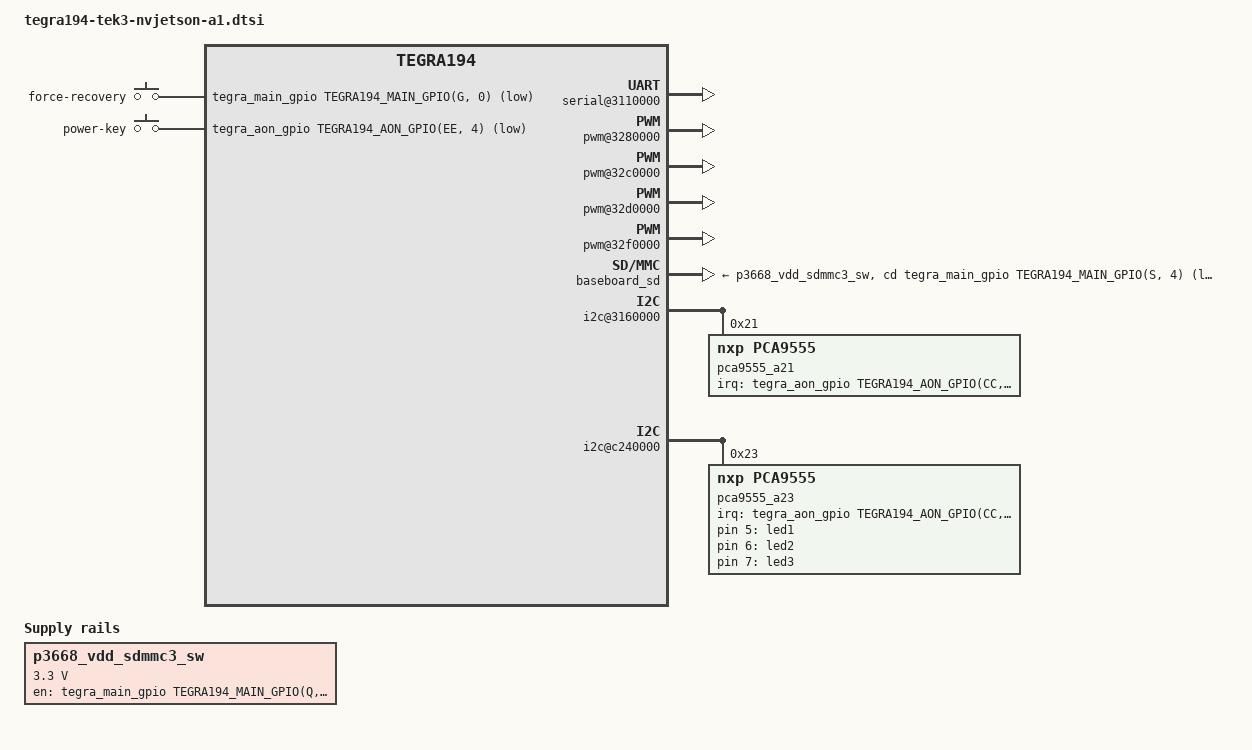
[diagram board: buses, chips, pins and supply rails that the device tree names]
/*
 * Copyright (c) 2019-2021, NVIDIA CORPORATION.  All rights reserved.
 *
 * This program is free software; you can redistribute it and/or modify
 * it under the terms of the GNU General Public License as published by
 * the Free Software Foundation; version 2 of the License.
 *
 * This program is distributed in the hope that it will be useful, but WITHOUT
 * ANY WARRANTY; without even the implied warranty of MERCHANTABILITY or
 * FITNESS FOR A PARTICULAR PURPOSE.  See the GNU General Public License for
 * more details.
 */
#include <dt-bindings/gpio/tegra194-gpio.h>
#include "dt-bindings/input/input.h"
#include "tegra194-fixed-regulator-p3509-0000-a00.dtsi"
#include "tegra194-p3509-disp.dtsi"
#include "tegra194-audio-p3668.dtsi"
#include "tegra194-super-module-e2614-p3509.dtsi"
//#include "tegra194-camera-tek3-nvjetson-tevi-ov5640.dtsi"
//#include "tegra194-camera-tek3-nvjetson-tevi-ap1302.dtsi"
#include "tegra194-camera-tek3-nvjetson-vizionlink-tevi-ap1302.dtsi"
/ {
	gpio-keys {
		compatible = "gpio-keys";
		gpio-keys,name = "gpio-keys";

		forcerecovery {
			label = "force-recovery";
			gpios = <&tegra_main_gpio TEGRA194_MAIN_GPIO(G, 0) GPIO_ACTIVE_LOW>;
			linux,code = <BTN_1>;
		};

		power_key {
			label = "power-key";
			gpios = <&tegra_aon_gpio TEGRA194_AON_GPIO(EE, 4) GPIO_ACTIVE_LOW>;
			linux,code = <KEY_POWER>;
			gpio-key,wakeup;
		};
	};
	eeprom-manager {
		data-size = <0x100>;
		bus@0 {
			i2c-bus = <&gen1_i2c>;
			eeprom@1 {
				slave-address = <0x57>;
				label = "cvb";
			};
		};

		bus@1 {
			i2c-bus = <&gen2_i2c>;
			eeprom@1 {
				slave-address = <0x50>;
				label = "super-module";
			};
		};
	};
	pwm-fan {
		pwms = <&tegra_pwm6 0 45334>;
		vdd-fan-supply = <&p3509_vdd_fan>;
		profiles {
			default = "quiet";
			quiet {
				state_cap = <4>;
				active_pwm = <0 130 160 200 255 255 255 255 255 255>;
			};
			cool {
				state_cap = <4>;
				active_pwm = <0 140 170 200 255 255 255 255 255 255>;
			};
		};
	};
	thermal-fan-est {
		profiles {
			default = "quiet";
			quiet {
				active_trip_temps = <0 46000 60000 68000 76000
						140000 150000 160000 170000 180000>;
				active_hysteresis = <0 8000 8000 7000 7000
						0 0 0 0 0>;
			};
			cool {
				active_trip_temps = <0 35000 45000 53000 61000
						140000 150000 160000 170000 180000>;
				active_hysteresis = <0 8000 8000 7000 7000
						0 0 0 0 0>;
			};
		};
	};
	serial@3110000 {
		status = "okay";
	};
	tachometer@39c0000 {
		status = "okay";
	};
	pwm@3280000 {
		status = "okay";
	};

	pwm@32c0000 {
		status = "okay";
	};

	pwm@32d0000 {
		status = "okay";
	};

	pwm@32f0000 {
		status = "okay";
	};
	spi@c260000 {
		status = "disabled";
	};

	spi@3300000 {
		status = "disabled";
	};

	fixed-regulators {
		p3668_vdd_sdmmc3_sw: regulator@114 {
			compatible = "regulator-fixed";
			reg = <114>;
			regulator-name = "vdd-sdmmc3-sw";
			regulator-min-microvolt = <3300000>;
			regulator-max-microvolt = <3300000>;
			gpio = <&tegra_main_gpio TEGRA194_MAIN_GPIO(Q, 5) 0>;
			enable-active-high;
		};
	};

	baseboard_sd: sdhci@3440000 { /* sdmmc3 */
		mmc-ocr-mask = <0x0>;
		cd-inverted;
		cd-gpios = <&tegra_main_gpio TEGRA194_MAIN_GPIO(S, 4) 0>;
		nvidia,cd-wakeup-capable;
		mmc-ocr-mask = <0>;
		cd-inverted;
		vmmc-supply = <&p3668_vdd_sdmmc3_sw>;
		nvidia,vmmc-always-on;
		status = "okay";
	};

	i2c@3160000 {
		pca9555_a21: pca955@21 {
			compatible = "nxp,pca9555";
			reg = <0x21>;

			interrupt-parent = <&tegra_aon_gpio>;
			interrupts = <TEGRA194_AON_GPIO(CC, 2) IRQ_TYPE_LEVEL_LOW>;

			interrupt-controller;
			#interrupt-cells = <2>;

			gpio-controller;
			#gpio-cells = <2>;

			status = "okay";
			gpio-line-names = "CSI0_PWDN", "CSI0_PDB", "CSI0_RST_N", "INFO0_TRIG_IN",
						"CSI1_PWDN", "CSI1_PDB", "CSI1_RST_N", "INFO1_TRIG_IN",
						"CSI2_PWDN", "CSI2_PDB", "CSI2_RST_N", "INFO2_TRIG_IN",
						"CSI4_PWDN", "CSI4_PDB", "CSI4_RST_N", "INFO4_TRIG_IN";
		};
	};

	i2c@c240000 {
		pca9555_a23: pca9555@23 {
			compatible = "nxp,pca9555";
			reg = <0x23>;

			interrupt-parent = <&tegra_aon_gpio>;
			interrupts = <TEGRA194_AON_GPIO(CC, 0) IRQ_TYPE_LEVEL_LOW>;

			interrupt-controller;
			#interrupt-cells = <2>;

			gpio-controller;
			#gpio-cells = <2>;

			status = "okay";
			gpio-line-names = "M2_DISABLE_N", "M2_RST_IN", "LTE_WAKE", "W_DISABLE1_CTRL",
						"BT_M2_EN", "GPIO_LED1", "GPIO_LED2", "GPIO_LED3",
						"BTBC_GPIO_P20", "BTBC_GPIO_P21", "BTBC_GPIO_P22", "BTBC_GPIO_P23",
						"BTBC_GPIO_P24", "BTBP_GPIO_P18", "BTBP_GPIO_P19", "BTBP_GPIO_P20";
		};
	};

	gpio-leds1 {
		compatible = "gpio-leds";
		status = "okay";
		led1 {
			gpios = <&pca9555_a23 5 GPIO_ACTIVE_HIGH>;
			default-state = "off";
		};
	};

	gpio-leds2 {
		compatible = "gpio-leds";
		status = "okay";
		led2 {
			gpios = <&pca9555_a23 6 GPIO_ACTIVE_HIGH>;
			default-state = "off";
		};
	};

	gpio-leds3 {
		compatible = "gpio-leds";
		status = "okay";
		led3 {
			gpios = <&pca9555_a23 7 GPIO_ACTIVE_HIGH>;
			default-state = "off";
		};
	};

	gpio@2200000 {
		/* gpio-name for 40-pin header, gpio-name given as COL(10) x ROW(24),
		   Tegra-GPIO starts from 288 */
		gpio-line-names = "",   "",     "",     "",     "",     "",     "",     "",     "",     "",
		"",     "",     "",     "",     "",     "",     "",     "",     "",     "",
		"",     "",     "",     "",     "",     "",     "",     "",     "",     "",
		"",     "",     "",     "",     "",     "",     "",     "",     "",     "",
		"",     "",     "",     "",     "",     "",     "",     "",     "",     "",
		"",     "",     "",     "",     "",     "",     "",     "",     "",     "",
		"",     "",     "",     "",     "",     "",     "",     "",     "",     "",
		"",     "",     "",     "",     "",     "",     "",     "",     "",     "",
		"",     "",     "",     "",     "",     "",     "",     "",     "",     "",
		"",     "",     "",     "",     "",     "",     "",     "",     "",     "",
		"",     "",     "",     "",     "",     "GPIO13",     "",     "",     "",     "",
		"",     "",     "",     "",     "",     "",     "",     "",     "",     "",
		"",     "",     "",     "",     "",     "",     "",     "",     "",     "",
		"",     "",     "",     "GPIO01",     "GPIO11",     "",     "GPIO07",     "",     "",     "",
		"UART1_RTS",     "UART1_CTS",     "",     "",     "",     "",     "",     "",     "GPIO09",     "",
		"",     "",     "",     "",     "",     "",     "",     "I2S0_SCLK",     "I2S0_DOUT",     "I2S0_DIN",
		"I2S0_FS",     "",     "",     "",     "",     "",     "",     "",     "",     "",
		"",     "",     "",     "",     "",     "",     "",     "",     "",     "",
		"",     "",     "",     "",     "",     "",     "",     "",     "",     "",
		"",     "",     "SPI1_SCK",     "SPI1_MISO",     "SPI1_MOSI",     "SPI1_CS0",     "SPI1_CS1",     "",     "",     "",
		"",     "",     "",     "SPI0_SCK",     "SPI0_MISO",     "SPI0_MOSI",     "SPI0_CS0",     "SPI0_CS1",     "",     "",
		"",     "",     "",     "",     "",     "",     "",     "",     "",     "",
		"",     "",     "",     "",     "",     "",     "",     "",     "",     "",
		"",     "",     "",     "",     "",     "",     "",     "",     "",     "";
	};

	gpio@c2f0000 {
		/* gpio-name for 40-pin header, gpio-name given as COL(10) x ROW(2),
		   Tegra-AON-GPIO starts from 248 */
		gpio-line-names = "",   "",     "",     "",     "",     "",     "",     "",     "",     "",
		"",     "",     "",     "",     "",     "",     "PCA9555_A23",     "",     "PCA9555_A21",     "",     "BTBC_GPIO_P19";
	};
};

&head0 {
	status = "disabled";
};

&sor1 {
	status = "disabled";
};

&sor1_hdmi_display {
	status = "disabled";
};

&dpaux1 {
	status = "disabled";
};
